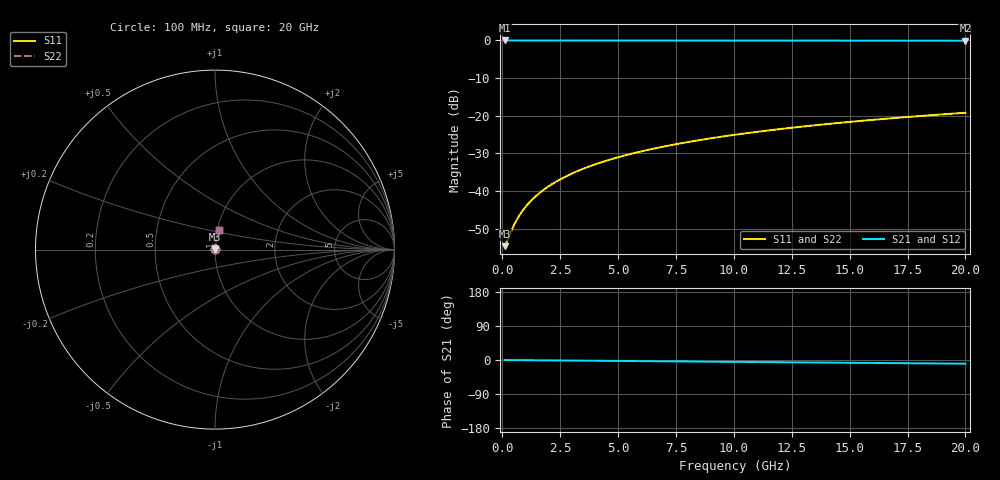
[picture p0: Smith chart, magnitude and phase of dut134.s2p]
! Touchstone file exported from HFSS 2026.1.0
!  File:  C:/ffzhzh/LocalFiles/Ansys_Project_Files/temp_train_BSMRDL_134_1782986259_42984.aedt
!  Generated:  05:59:02 PM Jul  2, 2026
!  Design:  BSMRDL
!  Project:  temp_train_BSMRDL_134_1782986259_42984
! Variables:
!  h_bsmrdl = 2.01um
!  h_ox = 20um
!  h_rdl = 5um
!  h_sub = 80um
!  h_tmrdl = 5um
!  h_tsv = 80um
!  h_via = 3um
!  l_bsmrdl = 107.64um
!  l_sub = 507.64um
!  l_tmrdl = 200um
!  m_sub = 200um
!  pitch = 32.11um
!  r_tsv = 6um
!  s_tmrdl = 10um
!  w_bsmrdl = 13.66um
!  w_sub = 500um
!  w_tmrdl = 12um
!  x_tsv_center1 = 206um
!  x_tsv_center2 = 327.3um
!  x_tsv_center3 = 539.3um
!  x_tsv_center4 = 660.6um
!  x_tsv_center5 = 872.6um
!  x_tsv_center6 = 993.9um
# GHz S MA R 50.000000
! Terminal data exported
! Port[1] = BSM_RDL1_1_T1
! Port[2] = BSM_RDL1_1_T2
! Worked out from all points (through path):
!   200 points, 100 MHz to 20 GHz, reference 50 ohm
!   highest |S21| = -0.02 dB at 100 MHz (marker M1); lowest = -0.1 dB at 20 GHz (marker M2)
!   group delay of S21, straight-line fit = 1.35 ps
!   lowest |S11| = -54.6 dB at 100 MHz (marker M3), VSWR 1.00, Z = 50.2 + j0.0604 ohm
!   |S11| at or under -10 dB: start of sweep to end of sweep
!   |S22| runs from -54.6 to -19.2 dB; largest |S21 - S12| = 3e-15
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0.1  0.001858 18.9  0.9982 -0.1  0.9982 -0.1  0.001858 18.9
! Gamma 0 0 0 0
! Port Impedance 50 0 50 0
0.2  0.00214 34.2  0.9982 -0.1  0.9982 -0.1  0.00214 34.2
0.4  0.003002 52.6  0.9982 -0.2  0.9982 -0.2  0.003002 52.6
0.5  0.003501 58.0  0.9982 -0.3  0.9982 -0.3  0.003501 58.0
0.7  0.004546 64.9  0.9981 -0.4  0.9981 -0.4  0.004546 64.9
0.8  0.005079 67.3  0.9981 -0.4  0.9981 -0.4  0.005079 67.3
1  0.006152 70.7  0.998 -0.5  0.998 -0.5  0.006152 70.7
1.3  0.007771 74.1  0.9979 -0.7  0.9979 -0.7  0.007771 74.1
1.7  0.00994 76.9  0.9978 -0.8  0.9978 -0.8  0.00994 76.9
2.2  0.01267 79.1  0.9978 -1.1  0.9978 -1.1  0.01267 79.1
2.8  0.01596 80.7  0.9977 -1.4  0.9977 -1.4  0.01596 80.7
3.5  0.01982 81.7  0.9976 -1.7  0.9976 -1.7  0.01982 81.7
4.2  0.02369 82.4  0.9974 -2.1  0.9974 -2.1  0.02369 82.4
5  0.02811 82.7  0.9973 -2.5  0.9973 -2.5  0.02811 82.7
5.9  0.03309 82.9  0.997 -2.9  0.997 -2.9  0.03309 82.9
6.8  0.03807 82.9  0.9968 -3.3  0.9968 -3.3  0.03807 82.9
8.3  0.04634 82.7  0.9963 -4.1  0.9963 -4.1  0.04634 82.7
10.1  0.05622 82.2  0.9956 -5.0  0.9956 -5.0  0.05622 82.2
11.7  0.06497 81.7  0.9949 -5.7  0.9949 -5.7  0.06497 81.7
13.4  0.07421 81.0  0.9941 -6.6  0.9941 -6.6  0.07421 81.0
16.7  0.092 79.7  0.9923 -8.1  0.9923 -8.1  0.092 79.7
20  0.1096 78.2  0.9901 -9.7  0.9901 -9.7  0.1096 78.2
